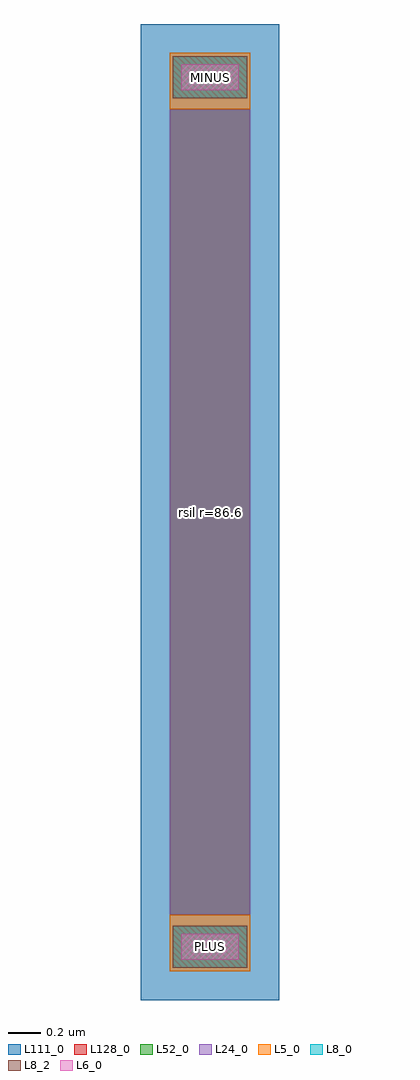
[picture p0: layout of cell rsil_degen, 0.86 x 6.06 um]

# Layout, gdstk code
import gdstk
lib = gdstk.Library(unit=1e-6, precision=1e-09)
def R(c, l, rs):  # rectangles x0, y0, x1, y1
    for r in rs: c.add(gdstk.rectangle(r[:2], r[2:], *l))
L5_0 = (5, 0)
L6_0 = (6, 0)
L8_0 = (8, 0)
L8_2 = (8, 2)
L24_0 = (24, 0)
L52_0 = (52, 0)
L111_0 = (111, 0)
L128_0 = (128, 0)

rsil_degen = lib.new_cell('rsil_degen')
R(rsil_degen, L5_0, [(0,-0.35,0.5,0), (0,5,0.5,5.35)])
R(rsil_degen, L6_0, [(0.07,-0.28,0.43,-0.12), (0.07,5.12,0.43,5.28)])
R(rsil_degen, L8_0, [(0.02,-0.33,0.48,-0.07), (0.02,5.07,0.48,5.33)])
R(rsil_degen, L8_2, [(0.02,-0.33,0.48,-0.07), (0.02,5.07,0.48,5.33)])
R(rsil_degen, L24_0, [(0,0,0.5,5)])
R(rsil_degen, L52_0, [(0,0,0.5,5)])
R(rsil_degen, L111_0, [(-0.18,-0.53,0.68,0), (-0.18,0,0.68,5), (-0.18,0,0.68,5.53)])
R(rsil_degen, L128_0, [(0,0,0.5,5)])
rsil_degen.add(gdstk.Label('rsil r=86.6', (0.25,2.5), layer=63, texttype=0))
rsil_degen.add(gdstk.Label('rsil', (0.25,2.5), layer=52, texttype=0))
rsil_degen.add(gdstk.Label('PLUS', (0.25,-0.2), layer=8, texttype=25))
rsil_degen.add(gdstk.Label('MINUS', (0.25,5.2), layer=8, texttype=25))

lib.write_gds('rsil_degen.gds')
